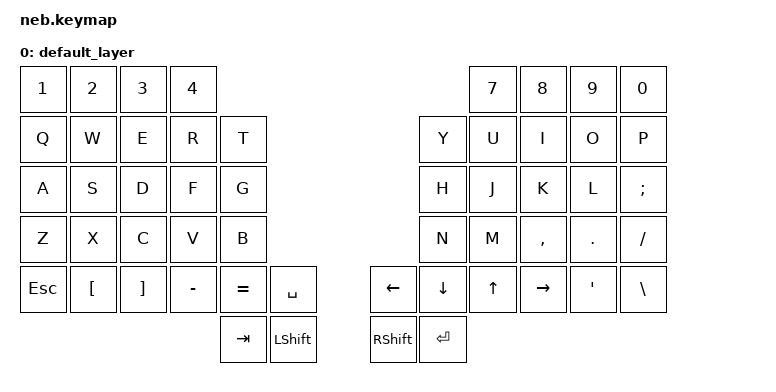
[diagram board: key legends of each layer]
// This file was generated from a template. Edit it to match your keyboard.
// See https://zmk.dev/docs/development/hardware-integration/new-shield for more instructions.

#include <behaviors.dtsi>
#include <dt-bindings/zmk/keys.h>

/ {
    // Define a default keymap here.
    // See https://zmk.dev/docs/development/hardware-integration/new-shield#default-keymap.
    keymap {
        compatible = "zmk,keymap";

        default_layer {
                bindings = <
                                // Left side                            // Right side
                    &kp N1 &kp N2 &kp N3 &kp N4                         &kp N7 &kp N8 &kp N9 &kp N0
                &kp Q &kp W &kp E &kp R &kp T                           &kp Y  &kp U  &kp I  &kp O &kp P
                &kp A &kp S &kp D &kp F &kp G                           &kp H  &kp J  &kp K  &kp L &kp SEMI
                &kp Z &kp X &kp C &kp V &kp B                           &kp N  &kp M  &kp COMMA &kp DOT &kp FSLH
                &kp ESC &kp LBKT &kp RBKT &kp MINUS &kp EQUAL           &kp SPACE  &kp LEFT &kp DOWN &kp UP &kp RIGHT &kp SQT &kp BSLH
                                            &kp TAB &kp LSHIFT           &kp RSHIFT &kp RET
            >;
        };
    };
};
